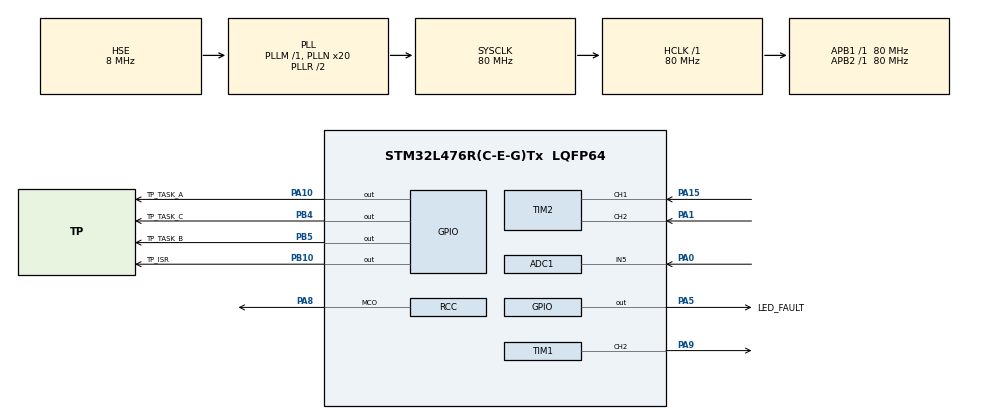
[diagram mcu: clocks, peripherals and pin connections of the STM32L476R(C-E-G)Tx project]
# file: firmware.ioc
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ADC1.Channel-0\#ChannelRegularConversion=ADC_CHANNEL_5
ADC1.ClockPrescaler=ADC_CLOCK_SYNC_PCLK_DIV4
ADC1.DMAContinuousRequests=ENABLE
ADC1.ExternalTrigConv=ADC_EXTERNALTRIG_T3_TRGO
ADC1.NbrOfConversionFlag=1
ADC1.OffsetNumber-0\#ChannelRegularConversion=ADC_OFFSET_NONE
ADC1.Overrun=ADC_OVR_DATA_OVERWRITTEN
ADC1.Rank-0\#ChannelRegularConversion=1
ADC1.SamplingTime-0\#ChannelRegularConversion=ADC_SAMPLETIME_47CYCLES_5
ADC1.master=1
Dma.ADC1.0.Direction=DMA_PERIPH_TO_MEMORY
Dma.ADC1.0.Instance=DMA1_Channel1
Dma.ADC1.0.MemDataAlignment=DMA_MDATAALIGN_HALFWORD
Dma.ADC1.0.MemInc=DMA_MINC_ENABLE
Dma.ADC1.0.Mode=DMA_CIRCULAR
Dma.ADC1.0.PeriphDataAlignment=DMA_PDATAALIGN_HALFWORD
Dma.ADC1.0.PeriphInc=DMA_PINC_DISABLE
Dma.ADC1.0.Priority=DMA_PRIORITY_HIGH
Dma.Request0=ADC1
FREERTOS.Tasks01=healthTask,8,256,StartHealthTask,Default,NULL,Static,healthTaskBuffer,healthTaskControlBlock
FREERTOS.configCHECK_FOR_STACK_OVERFLOW=2
FREERTOS.configENABLE_BACKWARD_COMPATIBILITY=0
FREERTOS.configENABLE_FPU=1
FREERTOS.configUSE_MALLOC_FAILED_HOOK=1
Mcu.Family=STM32L4
Mcu.Name=STM32L476R(C-E-G)Tx
Mcu.Package=LQFP64
NVIC.ADC1_2_IRQn=true\:7\:0\:true\:false\:true\:true\:true\:true\:true
NVIC.DMA1_Channel1_IRQn=true\:6\:0\:true\:false\:true\:true\:false\:true\:true
NVIC.PriorityGroup=NVIC_PRIORITYGROUP_4
NVIC.TIM6_DAC_IRQn=true\:15\:0\:false\:false\:true\:false\:false\:true\:true
NVIC.TimeBase=TIM6_DAC_IRQn
NVIC.TimeBaseIP=TIM6
PA0.Signal=ADCx_IN5
PA1.Signal=S_TIM2_CH2
PA10.GPIO_Label=TP_TASK_A
PA10.GPIO_ModeDefaultOutputPP=GPIO_MODE_OUTPUT_PP
PA10.GPIO_PuPd=GPIO_NOPULL
PA10.GPIO_Speed=GPIO_SPEED_FREQ_VERY_HIGH
PA10.Signal=GPIO_Output
PA13\ (JTMS-SWDIO).Mode=Trace_Asynchronous_SW
PA13\ (JTMS-SWDIO).Signal=SYS_JTMS-SWDIO
PA14\ (JTCK-SWCLK).Mode=Trace_Asynchronous_SW
PA14\ (JTCK-SWCLK).Signal=SYS_JTCK-SWCLK
PA15\ (JTDI).Signal=S_TIM2_CH1
PA5.GPIO_Label=LED_FAULT
PA5.Signal=GPIO_Output
PA8.GPIO_Speed=GPIO_SPEED_FREQ_VERY_HIGH
PA8.Mode=Clock-out
PA8.Signal=RCC_MCO
PA9.Signal=S_TIM1_CH2
PB10.GPIO_Label=TP_ISR
PB10.GPIO_Speed=GPIO_SPEED_FREQ_VERY_HIGH
PB10.Signal=GPIO_Output
PB3\ (JTDO-TRACESWO).Mode=Trace_Asynchronous_SW
PB3\ (JTDO-TRACESWO).Signal=SYS_JTDO-SWO
PB4\ (NJTRST).GPIO_Label=TP_TASK_C
PB4\ (NJTRST).GPIO_Speed=GPIO_SPEED_FREQ_VERY_HIGH
PB4\ (NJTRST).Signal=GPIO_Output
PB5.GPIO_Label=TP_TASK_B
PB5.GPIO_Speed=GPIO_SPEED_FREQ_VERY_HIGH
PB5.Signal=GPIO_Output
PH0-OSC_IN\ (PH0).Mode=HSE-External-Clock-Source
PH0-OSC_IN\ (PH0).Signal=RCC_OSC_IN
ProjectManager.HeapSize=0x200
ProjectManager.StackSize=0x400
ProjectManager.TargetToolchain=STM32CubeIDE
RCC.ADCFreq_Value=32000000
RCC.AHBFreq_Value=80000000
RCC.APB1Freq_Value=80000000
RCC.APB1TimFreq_Value=80000000
RCC.APB2Freq_Value=80000000
RCC.APB2TimFreq_Value=80000000
RCC.CortexFreq_Value=80000000
RCC.EnbaleCSS=true
RCC.HCLKFreq_Value=80000000
RCC.HSE_VALUE=8000000
RCC.HSI_VALUE=16000000
RCC.LSE_VALUE=32768
RCC.MSI_VALUE=4000000
RCC.PLLN=20
RCC.PLLSourceVirtual=RCC_PLLSOURCE_HSE
RCC.RCC_MCODiv=RCC_MCODIV_16
RCC.SYSCLKFreq_VALUE=80000000
RCC.SYSCLKSource=RCC_SYSCLKSOURCE_PLLCLK
RCC.USBFreq_Value=32000000
RCC.VCOOutputFreq_Value=160000000
SH.ADCx_IN5.0=ADC1_IN5,IN5-Single-Ended
SH.S_TIM1_CH2.0=TIM1_CH2,PWM Generation2 CH2
SH.S_TIM2_CH1.0=TIM2_CH1,Encoder_Interface
SH.S_TIM2_CH2.0=TIM2_CH2,Encoder_Interface
TIM1.AutoReloadPreload=TIM_AUTORELOAD_PRELOAD_ENABLE
TIM1.Channel-PWM\ Generation2\ CH2=TIM_CHANNEL_2
TIM1.Period=3999
TIM2.EncoderMode=TIM_ENCODERMODE_TI12
TIM2.IC1Filter=3
TIM2.IC2Filter=3
TIM3.Period=99
TIM3.Prescaler=79
TIM3.TIM_MasterOutputTrigger=TIM_TRGO_UPDATE
VP_FREERTOS_VS_CMSIS_V2.Mode=CMSIS_V2
VP_SYS_VS_tim6.Mode=TIM6
VP_TIM1_VS_ClockSourceINT.Mode=Internal
VP_TIM3_VS_ClockSourceINT.Mode=Internal
board=NUCLEO-L476RG

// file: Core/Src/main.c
/* USER CODE BEGIN Header */
/**
  ******************************************************************************
  * @file           : main.c
  * @brief          : Main program body
  ******************************************************************************
  * @attention
  *
  * Copyright (c) 2026 STMicroelectronics.
  * All rights reserved.
  *
  * This software is licensed under terms that can be found in the LICENSE file
  * in the root directory of this software component.
  * If no LICENSE file comes with this software, it is provided AS-IS.
  *
  ******************************************************************************
  */
/* USER CODE END Header */
#include "main.h"
#include "cmsis_os.h"

/* USER CODE BEGIN Includes */
#include "FreeRTOS.h"
#include "task.h"
/* USER CODE END Includes */

typedef StaticTask_t osStaticThreadDef_t;
/* USER CODE BEGIN PTD */
typedef struct
{
  size_t      heapFree;         /* xPortGetFreeHeapSize()                      */
  UBaseType_t stackFreeA;       /* minimum free stack ever seen, in words      */
  UBaseType_t stackFreeB;
  UBaseType_t stackFreeHealth;
  uint32_t    checks;           /* incremented once per health check           */
} HealthStatus_t;

typedef struct
{
  uint32_t last;                /* last sample, in CPU cycles                  */
  uint32_t min;                 /* best case since reset                       */
  uint32_t max;                 /* worst case since reset                      */
  uint32_t avg;                 /* running average                             */
  uint32_t count;               /* number of samples                           */
  uint64_t sum;
} CycleStats_t;

typedef struct
{
  uint32_t blocks;              /* half-buffers processed                      */
  uint32_t lastRaw;             /* average of the last block, 0..4095          */
  uint32_t lastMv;              /* same, in millivolts (nominal 3300 mV ref)   */
  uint32_t lateBlocks;          /* both halves ready at once: task too late    */
  uint32_t overruns;            /* ADC overrun events                          */
} AcqStatus_t;

/* Encoder input (TIM2, x4 quadrature decoding). The count is compared with
   a CPU-cycle stamp taken at the same instant, so the ratio counts/cycles
   measures the generator frequency against the STM32 clock (HSE). */
typedef struct
{
  uint32_t lastCnt;             /* TIM2->CNT at the previous window            */
  uint32_t lastCyc;             /* DWT->CYCCNT at the previous window          */
  uint32_t warmup;              /* windows to discard after start              */
  int32_t  delta;               /* encoder counts in the last 1 ms window      */
  int32_t  dmin;
  int32_t  dmax;
  uint32_t windows;             /* valid windows since warm-up                 */
  int64_t  total;               /* encoder counts since warm-up                */
  uint64_t cycles;              /* CPU cycles elapsed since warm-up            */
} EncStats_t;
/* USER CODE END PTD */

/* USER CODE BEGIN PD */
#define TASK_A_PERIOD_MS      10U
#define TASK_A_WORK_US        2000U
#define TASK_A_PRIORITY       20U

#define TASK_B_PERIOD_MS      25U
#define TASK_B_WORK_US        5000U
#define TASK_B_PRIORITY       16U

#define TASK_STACK_WORDS      256U

#define HEALTH_PERIOD_MS      1000U

/* Context-switch measurement: a low-priority sender notifies a
   high-priority receiver; the receiver measures the delay with DWT. */
#define CTX_RX_PRIORITY       24U   /* highest: wakes immediately           */
#define CTX_TX_PRIORITY       12U   /* below A and B                        */
#define CTX_TX_PERIOD_MS      5U

/* Setpoint acquisition: TIM3 (10 kHz) -> ADC1 -> circular DMA, 2 x 10 samples.
   Each half is ready every 1 ms and processed by the acquisition task. */
#define ADC_BUF_LEN           20U
#define ADC_HALF_LEN          (ADC_BUF_LEN / 2U)
#define ACQ_PRIORITY          22U   /* above A and B, below ctxRx           */
#define ACQ_BIT_HALF          (1UL << 0)
#define ACQ_BIT_FULL          (1UL << 1)

/* Fail-stop self-test, run from the acquisition task 5 s after start.
   0 = off (reference build), 1 = call the CSS callback, 2 = call Error_Handler,
   3 = software NMI (goes through NMI_Handler).
   Must be 0 in the reference build. */
#define CSS_SELFTEST          0
/* USER CODE END PD */

ADC_HandleTypeDef hadc1;
DMA_HandleTypeDef hdma_adc1;

TIM_HandleTypeDef htim1;
TIM_HandleTypeDef htim2;
TIM_HandleTypeDef htim3;

/* Definitions for healthTask */
osThreadId_t healthTaskHandle;
uint32_t healthTaskBuffer[ 256 ];
osStaticThreadDef_t healthTaskControlBlock;
const osThreadAttr_t healthTask_attributes = {
  .name = "healthTask",
  .cb_mem = &healthTaskControlBlock,
  .cb_size = sizeof(healthTaskControlBlock),
  .stack_mem = &healthTaskBuffer[0],
  .stack_size = sizeof(healthTaskBuffer),
  .priority = (osPriority_t) osPriorityLow,
};
/* USER CODE BEGIN PV */
static StaticTask_t taskA_TCB;
static StackType_t  taskA_Stack[TASK_STACK_WORDS];
static StaticTask_t taskB_TCB;
static StackType_t  taskB_Stack[TASK_STACK_WORDS];

static TaskHandle_t hTaskA = NULL;
static TaskHandle_t hTaskB = NULL;

static StaticTask_t ctxRx_TCB;
static StackType_t  ctxRx_Stack[TASK_STACK_WORDS];
static StaticTask_t ctxTx_TCB;
static StackType_t  ctxTx_Stack[TASK_STACK_WORDS];

static TaskHandle_t hCtxRx = NULL;
static TaskHandle_t hCtxTx = NULL;

static uint16_t     adcBuf[ADC_BUF_LEN];     /* written by DMA only          */
static StaticTask_t acq_TCB;
static StackType_t  acq_Stack[TASK_STACK_WORDS];
static TaskHandle_t hAcq = NULL;

/* Globals (not static) so they are easy to watch in Live Expressions */
volatile HealthStatus_t g_health;
volatile CycleStats_t   g_ctxSwitch = { .min = UINT32_MAX };
volatile uint32_t       g_ctxT0;      /* timestamp written by the sender  */

volatile AcqStatus_t    g_acq;
volatile CycleStats_t   g_isrToTask = { .min = UINT32_MAX };
volatile uint32_t       g_isrT0;      /* timestamp written by the DMA ISR */

volatile EncStats_t     g_enc = { .warmup = 10U, .dmin = INT32_MAX, .dmax = INT32_MIN };
/* USER CODE END PV */

void SystemClock_Config(void);
static void MX_GPIO_Init(void);
static void MX_DMA_Init(void);
static void MX_ADC1_Init(void);
static void MX_TIM3_Init(void);
static void MX_TIM1_Init(void);
static void MX_TIM2_Init(void);
void StartHealthTask(void *argument);

/* USER CODE BEGIN PFP */
void Safe_State(void);
/* USER CODE END PFP */

/* USER CODE BEGIN 0 */
static void dwt_init(void)
{
  CoreDebug->DEMCR |= CoreDebug_DEMCR_TRCENA_Msk;  /* enable the trace block    */
  DWT->CYCCNT = 0U;
  DWT->CTRL  |= DWT_CTRL_CYCCNTENA_Msk;            /* start the cycle counter  */
}

static void busy_work_us(uint32_t us)
{
  const uint32_t start  = DWT->CYCCNT;
  const uint32_t cycles = us * (SystemCoreClock / 1000000U);
  while ((DWT->CYCCNT - start) < cycles) { }       /* wrap-safe (unsigned)     */
}

static void TaskA(void *arg)
{
  (void)arg;
  const TickType_t period = pdMS_TO_TICKS(TASK_A_PERIOD_MS);
  TickType_t lastWake = xTaskGetTickCount();

  for (;;)
  {
    vTaskDelayUntil(&lastWake, period);
    HAL_GPIO_WritePin(TP_TASK_A_GPIO_Port, TP_TASK_A_Pin, GPIO_PIN_SET);
    busy_work_us(TASK_A_WORK_US);
    HAL_GPIO_WritePin(TP_TASK_A_GPIO_Port, TP_TASK_A_Pin, GPIO_PIN_RESET);
  }
}

static void TaskB(void *arg)
{
  (void)arg;
  const TickType_t period = pdMS_TO_TICKS(TASK_B_PERIOD_MS);
  TickType_t lastWake = xTaskGetTickCount();

  for (;;)
  {
    vTaskDelayUntil(&lastWake, period);
    HAL_GPIO_WritePin(TP_TASK_B_GPIO_Port, TP_TASK_B_Pin, GPIO_PIN_SET);
    busy_work_us(TASK_B_WORK_US);
    HAL_GPIO_WritePin(TP_TASK_B_GPIO_Port, TP_TASK_B_Pin, GPIO_PIN_RESET);
  }
}

static void stats_add(volatile CycleStats_t *s, uint32_t sample)
{
  s->last = sample;
  if (sample < s->min) { s->min = sample; }
  if (sample > s->max) { s->max = sample; }
  s->sum += sample;
  s->count++;
  s->avg = (uint32_t)(s->sum / s->count);
}

/* Receiver: highest priority, blocked until notified. */
static void CtxRxTask(void *arg)
{
  (void)arg;
  for (;;)
  {
    (void)ulTaskNotifyTake(pdTRUE, portMAX_DELAY);
    const uint32_t dt = DWT->CYCCNT - g_ctxT0;
    stats_add(&g_ctxSwitch, dt);
  }
}

/* Sender: low priority, timestamps then notifies the receiver.
   The receiver preempts it immediately, so dt covers:
   notify call + PendSV + context save/restore + return from NotifyTake. */
static void CtxTxTask(void *arg)
{
  (void)arg;
  const TickType_t period = pdMS_TO_TICKS(CTX_TX_PERIOD_MS);
  TickType_t lastWake = xTaskGetTickCount();

  for (;;)
  {
    vTaskDelayUntil(&lastWake, period);
    g_ctxT0 = DWT->CYCCNT;
    xTaskNotifyGive(hCtxRx);
  }
}

/* Called once per acquisition window (1 ms). Both readings are taken
   back-to-back by the caller, so the count and the cycle stamp describe
   the same instant. Unsigned subtraction keeps it wrap-safe. */
static void enc_update(uint32_t cyc, uint32_t cnt)
{
  const int32_t  d  = (int32_t)(cnt - g_enc.lastCnt);
  const uint32_t dc = cyc - g_enc.lastCyc;
  g_enc.lastCnt = cnt;
  g_enc.lastCyc = cyc;

  if (g_enc.warmup > 0U) { g_enc.warmup--; return; }   /* first windows not valid */

  g_enc.delta = d;
  if (d < g_enc.dmin) { g_enc.dmin = d; }
  if (d > g_enc.dmax) { g_enc.dmax = d; }
  g_enc.total  += d;
  g_enc.cycles += dc;
  g_enc.windows++;
}

/* Acquisition task: woken by the DMA half/full-transfer interrupt.
   It starts the hardware itself, so that no interrupt can ever try to
   notify a task that does not exist yet. */
static void AcqTask(void *arg)
{
  (void)arg;

  /* Debug halt: stop TIM3 (no acquisition while the core is frozen) and
     TIM1 (motor PWM must not keep driving while nobody is in control). */
  __HAL_DBGMCU_FREEZE_TIM3();
  __HAL_DBGMCU_FREEZE_TIM1();
  __HAL_DBGMCU_FREEZE_TIM2();   /* keeps encoder counts consistent with DWT, which also stops */

  /* Motor PWM: start at 0 % duty. HAL_TIM_PWM_Start also sets MOE,
     the main output enable of the advanced timer. */
  __HAL_TIM_SET_COMPARE(&htim1, TIM_CHANNEL_2, 0U);
  if (HAL_TIM_PWM_Start(&htim1, TIM_CHANNEL_2) != HAL_OK)
  {
    Error_Handler();
  }

  if (HAL_TIM_Encoder_Start(&htim2, TIM_CHANNEL_ALL) != HAL_OK)
  {
    Error_Handler();
  }

  if (HAL_ADC_Start_DMA(&hadc1, (uint32_t *)adcBuf, ADC_BUF_LEN) != HAL_OK)
  {
    Error_Handler();
  }
  if (HAL_TIM_Base_Start(&htim3) != HAL_OK)
  {
    Error_Handler();
  }

  uint32_t warmup = 10U;        /* ignore the first wake-ups (cold cache) */

  for (;;)
  {
    uint32_t bits = 0U;
    (void)xTaskNotifyWait(0U, ACQ_BIT_HALF | ACQ_BIT_FULL, &bits, portMAX_DELAY);

    const uint32_t dt = DWT->CYCCNT - g_isrT0;
    if (warmup > 0U)
    {
      warmup--;
    }
    else
    {
      stats_add(&g_isrToTask, dt);
    }

    /* Encoder: count and cycle stamp read back-to-back (see enc_update). */
    const uint32_t encCyc = DWT->CYCCNT;
    const uint32_t encCnt = __HAL_TIM_GET_COUNTER(&htim2);
    enc_update(encCyc, encCnt);

#if CSS_SELFTEST
    if (g_acq.blocks == 5000U)                               /* 5 s after start */
    {
#if CSS_SELFTEST == 1
      HAL_RCC_CSSCallback();
#elif CSS_SELFTEST == 2
      Error_Handler();
#else
      SCB->ICSR = SCB_ICSR_NMIPENDSET_Msk;   /* software NMI: runs NMI_Handler */
#endif
    }
#endif

    HAL_GPIO_WritePin(TP_TASK_C_GPIO_Port, TP_TASK_C_Pin, GPIO_PIN_SET);

    if (((bits & ACQ_BIT_HALF) != 0U) && ((bits & ACQ_BIT_FULL) != 0U))
    {
      g_acq.lateBlocks++;   /* one block was overwritten before being read */
    }

    /* Process the half the DMA has just completed; it is filling the other. */
    const uint16_t *block = ((bits & ACQ_BIT_FULL) != 0U) ? &adcBuf[ADC_HALF_LEN]
                                                          : &adcBuf[0];
    uint32_t sum = 0U;
    for (uint32_t i = 0U; i < ADC_HALF_LEN; i++)
    {
      sum += block[i];
    }
    const uint32_t avg = sum / ADC_HALF_LEN;

    g_acq.lastRaw = avg;
    g_acq.lastMv  = (avg * 3300U) / 4095U;
    g_acq.blocks++;

    /* Temporary open loop (phase 2 test): setpoint 0..4095 -> duty 0..3999.
       Replaced by the PI controller output in phase 4. */
    const uint32_t duty = (avg * (__HAL_TIM_GET_AUTORELOAD(&htim1) + 1U)) / 4096U;
    __HAL_TIM_SET_COMPARE(&htim1, TIM_CHANNEL_2, duty);

    HAL_GPIO_WritePin(TP_TASK_C_GPIO_Port, TP_TASK_C_Pin, GPIO_PIN_RESET);
  }
}
/* USER CODE END 0 */

int main(void)
{

  /* MCU Configuration--------------------------------------------------------*/

  /* Reset of all peripherals, Initializes the Flash interface and the Systick. */
  HAL_Init();

  /* Configure the system clock */
  SystemClock_Config();

  /* Initialize all configured peripherals */
  MX_GPIO_Init();
  MX_DMA_Init();
  MX_ADC1_Init();
  MX_TIM3_Init();
  MX_TIM1_Init();
  MX_TIM2_Init();
  /* USER CODE BEGIN 2 */
  dwt_init();

  /* Calibrate the ADC once, while it is still disabled. */
  if (HAL_ADCEx_Calibration_Start(&hadc1, ADC_SINGLE_ENDED) != HAL_OK)
  {
    Error_Handler();
  }
  /* USER CODE END 2 */

  /* Init scheduler */
  osKernelInitialize();

  /* Create the thread(s) */
  /* creation of healthTask */
  healthTaskHandle = osThreadNew(StartHealthTask, NULL, &healthTask_attributes);

  /* USER CODE BEGIN RTOS_THREADS */
  configASSERT(healthTaskHandle != NULL);

  hTaskA = xTaskCreateStatic(TaskA, "taskA", TASK_STACK_WORDS, NULL,
                             TASK_A_PRIORITY, taskA_Stack, &taskA_TCB);
  hTaskB = xTaskCreateStatic(TaskB, "taskB", TASK_STACK_WORDS, NULL,
                             TASK_B_PRIORITY, taskB_Stack, &taskB_TCB);
  configASSERT(hTaskA != NULL);
  configASSERT(hTaskB != NULL);

  hCtxRx = xTaskCreateStatic(CtxRxTask, "ctxRx", TASK_STACK_WORDS, NULL,
                             CTX_RX_PRIORITY, ctxRx_Stack, &ctxRx_TCB);
  hCtxTx = xTaskCreateStatic(CtxTxTask, "ctxTx", TASK_STACK_WORDS, NULL,
                             CTX_TX_PRIORITY, ctxTx_Stack, &ctxTx_TCB);
  configASSERT(hCtxRx != NULL);
  configASSERT(hCtxTx != NULL);

  hAcq = xTaskCreateStatic(AcqTask, "acq", TASK_STACK_WORDS, NULL,
                           ACQ_PRIORITY, acq_Stack, &acq_TCB);
  configASSERT(hAcq != NULL);
  /* USER CODE END RTOS_THREADS */

  /* Start scheduler */
  osKernelStart();

  /* We should never get here as control is now taken by the scheduler */

  /* Infinite loop */
  while (1)
  {

  }
}

void SystemClock_Config(void)
{
  RCC_OscInitTypeDef RCC_OscInitStruct = {0};
  RCC_ClkInitTypeDef RCC_ClkInitStruct = {0};

  /** Configure the main internal regulator output voltage
  */
  if (HAL_PWREx_ControlVoltageScaling(PWR_REGULATOR_VOLTAGE_SCALE1) != HAL_OK)
  {
    Error_Handler();
  }

  /** Initializes the RCC Oscillators according to the specified parameters
  * in the RCC_OscInitTypeDef structure.
  */
  RCC_OscInitStruct.OscillatorType = RCC_OSCILLATORTYPE_HSE;
  RCC_OscInitStruct.HSEState = RCC_HSE_BYPASS;
  RCC_OscInitStruct.PLL.PLLState = RCC_PLL_ON;
  RCC_OscInitStruct.PLL.PLLSource = RCC_PLLSOURCE_HSE;
  RCC_OscInitStruct.PLL.PLLM = 1;
  RCC_OscInitStruct.PLL.PLLN = 20;
  RCC_OscInitStruct.PLL.PLLP = RCC_PLLP_DIV7;
  RCC_OscInitStruct.PLL.PLLQ = RCC_PLLQ_DIV2;
  RCC_OscInitStruct.PLL.PLLR = RCC_PLLR_DIV2;
  if (HAL_RCC_OscConfig(&RCC_OscInitStruct) != HAL_OK)
  {
    Error_Handler();
  }

  /** Initializes the CPU, AHB and APB buses clocks
  */
  RCC_ClkInitStruct.ClockType = RCC_CLOCKTYPE_HCLK|RCC_CLOCKTYPE_SYSCLK
                              |RCC_CLOCKTYPE_PCLK1|RCC_CLOCKTYPE_PCLK2;
  RCC_ClkInitStruct.SYSCLKSource = RCC_SYSCLKSOURCE_PLLCLK;
  RCC_ClkInitStruct.AHBCLKDivider = RCC_SYSCLK_DIV1;
  RCC_ClkInitStruct.APB1CLKDivider = RCC_HCLK_DIV1;
  RCC_ClkInitStruct.APB2CLKDivider = RCC_HCLK_DIV1;

  if (HAL_RCC_ClockConfig(&RCC_ClkInitStruct, FLASH_LATENCY_4) != HAL_OK)
  {
    Error_Handler();
  }
  HAL_RCC_MCOConfig(RCC_MCO1, RCC_MCO1SOURCE_SYSCLK, RCC_MCODIV_16);

  /** Enables the Clock Security System
  */
  HAL_RCC_EnableCSS();
}

static void MX_ADC1_Init(void)
{

  ADC_MultiModeTypeDef multimode = {0};
  ADC_ChannelConfTypeDef sConfig = {0};

  /** Common config
  */
  hadc1.Instance = ADC1;
  hadc1.Init.ClockPrescaler = ADC_CLOCK_SYNC_PCLK_DIV4;
  hadc1.Init.Resolution = ADC_RESOLUTION_12B;
  hadc1.Init.DataAlign = ADC_DATAALIGN_RIGHT;
  hadc1.Init.ScanConvMode = ADC_SCAN_DISABLE;
  hadc1.Init.EOCSelection = ADC_EOC_SINGLE_CONV;
  hadc1.Init.LowPowerAutoWait = DISABLE;
  hadc1.Init.ContinuousConvMode = DISABLE;
  hadc1.Init.NbrOfConversion = 1;
  hadc1.Init.DiscontinuousConvMode = DISABLE;
  hadc1.Init.ExternalTrigConv = ADC_EXTERNALTRIG_T3_TRGO;
  hadc1.Init.ExternalTrigConvEdge = ADC_EXTERNALTRIGCONVEDGE_RISING;
  hadc1.Init.DMAContinuousRequests = ENABLE;
  hadc1.Init.Overrun = ADC_OVR_DATA_OVERWRITTEN;
  hadc1.Init.OversamplingMode = DISABLE;
  if (HAL_ADC_Init(&hadc1) != HAL_OK)
  {
    Error_Handler();
  }

  /** Configure the ADC multi-mode
  */
  multimode.Mode = ADC_MODE_INDEPENDENT;
  if (HAL_ADCEx_MultiModeConfigChannel(&hadc1, &multimode) != HAL_OK)
  {
    Error_Handler();
  }

  /** Configure Regular Channel
  */
  sConfig.Channel = ADC_CHANNEL_5;
  sConfig.Rank = ADC_REGULAR_RANK_1;
  sConfig.SamplingTime = ADC_SAMPLETIME_47CYCLES_5;
  sConfig.SingleDiff = ADC_SINGLE_ENDED;
  sConfig.OffsetNumber = ADC_OFFSET_NONE;
  sConfig.Offset = 0;
  if (HAL_ADC_ConfigChannel(&hadc1, &sConfig) != HAL_OK)
  {
    Error_Handler();
  }

}

static void MX_TIM1_Init(void)
{

  TIM_ClockConfigTypeDef sClockSourceConfig = {0};
  TIM_MasterConfigTypeDef sMasterConfig = {0};
  TIM_OC_InitTypeDef sConfigOC = {0};
  TIM_BreakDeadTimeConfigTypeDef sBreakDeadTimeConfig = {0};

  htim1.Instance = TIM1;
  htim1.Init.Prescaler = 0;
  htim1.Init.CounterMode = TIM_COUNTERMODE_UP;
  htim1.Init.Period = 3999;
  htim1.Init.ClockDivision = TIM_CLOCKDIVISION_DIV1;
  htim1.Init.RepetitionCounter = 0;
  htim1.Init.AutoReloadPreload = TIM_AUTORELOAD_PRELOAD_ENABLE;
  if (HAL_TIM_Base_Init(&htim1) != HAL_OK)
  {
    Error_Handler();
  }
  sClockSourceConfig.ClockSource = TIM_CLOCKSOURCE_INTERNAL;
  if (HAL_TIM_ConfigClockSource(&htim1, &sClockSourceConfig) != HAL_OK)
  {
    Error_Handler();
  }
  if (HAL_TIM_PWM_Init(&htim1) != HAL_OK)
  {
    Error_Handler();
  }
  sMasterConfig.MasterOutputTrigger = TIM_TRGO_RESET;
  sMasterConfig.MasterOutputTrigger2 = TIM_TRGO2_RESET;
  sMasterConfig.MasterSlaveMode = TIM_MASTERSLAVEMODE_DISABLE;
  if (HAL_TIMEx_MasterConfigSynchronization(&htim1, &sMasterConfig) != HAL_OK)
  {
    Error_Handler();
  }
  sConfigOC.OCMode = TIM_OCMODE_PWM1;
  sConfigOC.Pulse = 0;
  sConfigOC.OCPolarity = TIM_OCPOLARITY_HIGH;
  sConfigOC.OCNPolarity = TIM_OCNPOLARITY_HIGH;
  sConfigOC.OCFastMode = TIM_OCFAST_DISABLE;
  sConfigOC.OCIdleState = TIM_OCIDLESTATE_RESET;
  sConfigOC.OCNIdleState = TIM_OCNIDLESTATE_RESET;
  if (HAL_TIM_PWM_ConfigChannel(&htim1, &sConfigOC, TIM_CHANNEL_2) != HAL_OK)
  {
    Error_Handler();
  }
  sBreakDeadTimeConfig.OffStateRunMode = TIM_OSSR_DISABLE;
  sBreakDeadTimeConfig.OffStateIDLEMode = TIM_OSSI_DISABLE;
  sBreakDeadTimeConfig.LockLevel = TIM_LOCKLEVEL_OFF;
  sBreakDeadTimeConfig.DeadTime = 0;
  sBreakDeadTimeConfig.BreakState = TIM_BREAK_DISABLE;
  sBreakDeadTimeConfig.BreakPolarity = TIM_BREAKPOLARITY_HIGH;
  sBreakDeadTimeConfig.BreakFilter = 0;
  sBreakDeadTimeConfig.Break2State = TIM_BREAK2_DISABLE;
  sBreakDeadTimeConfig.Break2Polarity = TIM_BREAK2POLARITY_HIGH;
  sBreakDeadTimeConfig.Break2Filter = 0;
  sBreakDeadTimeConfig.AutomaticOutput = TIM_AUTOMATICOUTPUT_DISABLE;
  if (HAL_TIMEx_ConfigBreakDeadTime(&htim1, &sBreakDeadTimeConfig) != HAL_OK)
  {
    Error_Handler();
  }
  HAL_TIM_MspPostInit(&htim1);

}

static void MX_TIM2_Init(void)
{

  TIM_Encoder_InitTypeDef sConfig = {0};
  TIM_MasterConfigTypeDef sMasterConfig = {0};

  htim2.Instance = TIM2;
  htim2.Init.Prescaler = 0;
  htim2.Init.CounterMode = TIM_COUNTERMODE_UP;
  htim2.Init.Period = 4294967295;
  htim2.Init.ClockDivision = TIM_CLOCKDIVISION_DIV1;
  htim2.Init.AutoReloadPreload = TIM_AUTORELOAD_PRELOAD_DISABLE;
  sConfig.EncoderMode = TIM_ENCODERMODE_TI12;
  sConfig.IC1Polarity = TIM_ICPOLARITY_RISING;
  sConfig.IC1Selection = TIM_ICSELECTION_DIRECTTI;
  sConfig.IC1Prescaler = TIM_ICPSC_DIV1;
  sConfig.IC1Filter = 3;
  sConfig.IC2Polarity = TIM_ICPOLARITY_RISING;
  sConfig.IC2Selection = TIM_ICSELECTION_DIRECTTI;
  sConfig.IC2Prescaler = TIM_ICPSC_DIV1;
  sConfig.IC2Filter = 3;
  if (HAL_TIM_Encoder_Init(&htim2, &sConfig) != HAL_OK)
  {
    Error_Handler();
  }
  sMasterConfig.MasterOutputTrigger = TIM_TRGO_RESET;
  sMasterConfig.MasterSlaveMode = TIM_MASTERSLAVEMODE_DISABLE;
  if (HAL_TIMEx_MasterConfigSynchronization(&htim2, &sMasterConfig) != HAL_OK)
  {
    Error_Handler();
  }

}

static void MX_TIM3_Init(void)
{

  TIM_ClockConfigTypeDef sClockSourceConfig = {0};
  TIM_MasterConfigTypeDef sMasterConfig = {0};

  htim3.Instance = TIM3;
  htim3.Init.Prescaler = 79;
  htim3.Init.CounterMode = TIM_COUNTERMODE_UP;
  htim3.Init.Period = 99;
  htim3.Init.ClockDivision = TIM_CLOCKDIVISION_DIV1;
  htim3.Init.AutoReloadPreload = TIM_AUTORELOAD_PRELOAD_DISABLE;
  if (HAL_TIM_Base_Init(&htim3) != HAL_OK)
  {
    Error_Handler();
  }
  sClockSourceConfig.ClockSource = TIM_CLOCKSOURCE_INTERNAL;
  if (HAL_TIM_ConfigClockSource(&htim3, &sClockSourceConfig) != HAL_OK)
  {
    Error_Handler();
  }
  sMasterConfig.MasterOutputTrigger = TIM_TRGO_UPDATE;
  sMasterConfig.MasterSlaveMode = TIM_MASTERSLAVEMODE_DISABLE;
  if (HAL_TIMEx_MasterConfigSynchronization(&htim3, &sMasterConfig) != HAL_OK)
  {
    Error_Handler();
  }

}

static void MX_DMA_Init(void)
{

  /* DMA controller clock enable */
  __HAL_RCC_DMA1_CLK_ENABLE();

  /* DMA interrupt init */
  /* DMA1_Channel1_IRQn interrupt configuration */
  HAL_NVIC_SetPriority(DMA1_Channel1_IRQn, 6, 0);
  HAL_NVIC_EnableIRQ(DMA1_Channel1_IRQn);

}

static void MX_GPIO_Init(void)
{
  GPIO_InitTypeDef GPIO_InitStruct = {0};

  /* GPIO Ports Clock Enable */
  __HAL_RCC_GPIOH_CLK_ENABLE();
  __HAL_RCC_GPIOA_CLK_ENABLE();
  __HAL_RCC_GPIOB_CLK_ENABLE();

  /*Configure GPIO pin Output Level */
  HAL_GPIO_WritePin(GPIOA, LED_FAULT_Pin|TP_TASK_A_Pin, GPIO_PIN_RESET);

  /*Configure GPIO pin Output Level */
  HAL_GPIO_WritePin(GPIOB, TP_ISR_Pin|TP_TASK_C_Pin|TP_TASK_B_Pin, GPIO_PIN_RESET);

  /*Configure GPIO pin : LED_FAULT_Pin */
  GPIO_InitStruct.Pin = LED_FAULT_Pin;
  GPIO_InitStruct.Mode = GPIO_MODE_OUTPUT_PP;
  GPIO_InitStruct.Pull = GPIO_NOPULL;
  GPIO_InitStruct.Speed = GPIO_SPEED_FREQ_LOW;
  HAL_GPIO_Init(LED_FAULT_GPIO_Port, &GPIO_InitStruct);

  /*Configure GPIO pins : TP_ISR_Pin TP_TASK_C_Pin TP_TASK_B_Pin */
  GPIO_InitStruct.Pin = TP_ISR_Pin|TP_TASK_C_Pin|TP_TASK_B_Pin;
  GPIO_InitStruct.Mode = GPIO_MODE_OUTPUT_PP;
  GPIO_InitStruct.Pull = GPIO_NOPULL;
  GPIO_InitStruct.Speed = GPIO_SPEED_FREQ_VERY_HIGH;
  HAL_GPIO_Init(GPIOB, &GPIO_InitStruct);

  /*Configure GPIO pin : PA8 */
  GPIO_InitStruct.Pin = GPIO_PIN_8;
  GPIO_InitStruct.Mode = GPIO_MODE_AF_PP;
  GPIO_InitStruct.Pull = GPIO_NOPULL;
  GPIO_InitStruct.Speed = GPIO_SPEED_FREQ_VERY_HIGH;
  GPIO_InitStruct.Alternate = GPIO_AF0_MCO;
  HAL_GPIO_Init(GPIOA, &GPIO_InitStruct);

  /*Configure GPIO pin : TP_TASK_A_Pin */
  GPIO_InitStruct.Pin = TP_TASK_A_Pin;
  GPIO_InitStruct.Mode = GPIO_MODE_OUTPUT_PP;
  GPIO_InitStruct.Pull = GPIO_NOPULL;
  GPIO_InitStruct.Speed = GPIO_SPEED_FREQ_VERY_HIGH;
  HAL_GPIO_Init(TP_TASK_A_GPIO_Port, &GPIO_InitStruct);

}

/* USER CODE BEGIN 4 */
/* Called from the DMA interrupt (priority 6, allowed to use FromISR APIs).
   Kept minimal: timestamp, notify, request a context switch if needed. */
static void acq_notify_from_isr(uint32_t bit)
{
  HAL_GPIO_WritePin(TP_ISR_GPIO_Port, TP_ISR_Pin, GPIO_PIN_SET);
  g_isrT0 = DWT->CYCCNT;

  BaseType_t woken = pdFALSE;
  if (hAcq != NULL)
  {
    (void)xTaskNotifyFromISR(hAcq, bit, eSetBits, &woken);
  }

  HAL_GPIO_WritePin(TP_ISR_GPIO_Port, TP_ISR_Pin, GPIO_PIN_RESET);
  portYIELD_FROM_ISR(woken);
}

void HAL_ADC_ConvHalfCpltCallback(ADC_HandleTypeDef *hadc)
{
  if (hadc->Instance == ADC1)
  {
    acq_notify_from_isr(ACQ_BIT_HALF);
  }
}

void HAL_ADC_ConvCpltCallback(ADC_HandleTypeDef *hadc)
{
  if (hadc->Instance == ADC1)
  {
    acq_notify_from_isr(ACQ_BIT_FULL);
  }
}

void HAL_ADC_ErrorCallback(ADC_HandleTypeDef *hadc)
{
  if ((hadc->Instance == ADC1) && ((hadc->ErrorCode & HAL_ADC_ERROR_OVR) != 0U))
  {
    g_acq.overruns++;
  }
}

/* Safe state: motor PWM output forced low and LD2 lit. Register level, no HAL or RTOS
   call, so it is safe from any context (task, ISR, NMI, fault handler). Disabling
   interrupts does not stop TIM1, a hardware peripheral that would keep driving the
   motor at the last duty cycle: the output itself has to be forced. */
void Safe_State(void)
{
  TIM1->BDTR &= ~TIM_BDTR_MOE;                                                /* timer outputs off          */
  GPIOA->BSRR = (uint32_t)GPIO_PIN_9 << 16U;                                  /* PA9 low first              */
  GPIOA->MODER = (GPIOA->MODER & ~(3UL << (9U * 2U))) | (1UL << (9U * 2U));   /* then PA9 = plain output    */
  LED_FAULT_GPIO_Port->BSRR = LED_FAULT_Pin;                                  /* LD2 on                     */
}

/* Clock Security System: HAL_RCC_NMI_IRQHandler() calls this from the NMI when the
   HSE stops. The hardware has already switched SYSCLK to MSI (4 MHz), so everything
   timed by the 80 MHz clock is wrong: fail-stop. */
void HAL_RCC_CSSCallback(void)
{
  Safe_State();
  __disable_irq();
  while (1) { }
}
/* USER CODE END 4 */

/* USER CODE BEGIN Header_StartHealthTask */
/**
  * @brief  Health monitor: once per HEALTH_PERIOD_MS, records heap usage and
  *         the minimum free stack ever seen by each task.
  * @param  argument: Not used
  * @retval None
  */
/* USER CODE END Header_StartHealthTask */
void StartHealthTask(void *argument)
{
  /* USER CODE BEGIN 5 */
  (void)argument;
  const TickType_t period = pdMS_TO_TICKS(HEALTH_PERIOD_MS);
  TickType_t lastWake = xTaskGetTickCount();

  for (;;)
  {
    vTaskDelayUntil(&lastWake, period);
    g_health.heapFree        = xPortGetFreeHeapSize();
    g_health.stackFreeA      = uxTaskGetStackHighWaterMark(hTaskA);
    g_health.stackFreeB      = uxTaskGetStackHighWaterMark(hTaskB);
    g_health.stackFreeHealth = uxTaskGetStackHighWaterMark(NULL);
    g_health.checks++;
  }
  /* USER CODE END 5 */
}

void HAL_TIM_PeriodElapsedCallback(TIM_HandleTypeDef *htim)
{
  if (htim->Instance == TIM6)
  {
    HAL_IncTick();
  }
}

void Error_Handler(void)
{
  /* USER CODE BEGIN Error_Handler_Debug */
  /* Fail-stop: freeze everything, force the motor output low and light LD2 so the
     fault is visible even without a debugger attached. */
  __disable_irq();
  Safe_State();
  while (1) { }
  /* USER CODE END Error_Handler_Debug */
}

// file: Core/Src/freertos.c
/* USER CODE BEGIN Header */
/**
  ******************************************************************************
  * File Name          : freertos.c
  * Description        : Code for freertos applications
  ******************************************************************************
  * @attention
  *
  * Copyright (c) 2026 STMicroelectronics.
  * All rights reserved.
  *
  * This software is licensed under terms that can be found in the LICENSE file
  * in the root directory of this software component.
  * If no LICENSE file comes with this software, it is provided AS-IS.
  *
  ******************************************************************************
  */
/* USER CODE END Header */

#include "FreeRTOS.h"
#include "task.h"
#include "main.h"

/* Hook prototypes */
void vApplicationStackOverflowHook(TaskHandle_t xTask, signed char *pcTaskName);
void vApplicationMallocFailedHook(void);

/* USER CODE BEGIN 4 */
void vApplicationStackOverflowHook(TaskHandle_t xTask, signed char *pcTaskName)
{
	  (void)xTask;
	  (void)pcTaskName;   /* visible au débogueur : nom de la tâche fautive */
	  Error_Handler();
}
/* USER CODE END 4 */

/* USER CODE BEGIN 5 */
void vApplicationMallocFailedHook(void)
{
	Error_Handler();
}
/* USER CODE END 5 */
